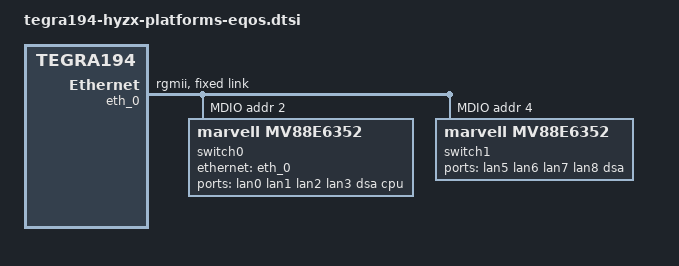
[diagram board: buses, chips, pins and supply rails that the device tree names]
/*
 * tegra194-platforms-eqos.dtsi: Ethernet QOS DTSI file.  Common for all
 * t194 platforms boards.
 *
 * Copyright (c) 2014-2018, NVIDIA CORPORATION.  All rights reserved.
 *
 * This program is free software; you can redistribute it and/or modify
 * it under the terms of the GNU General Public License as published by
 * the Free Software Foundation; version 2 of the License.
 *
 * This program is distributed in the hope that it will be useful, but WITHOUT
 * ANY WARRANTY; without even the implied warranty of MERCHANTABILITY or
 * FITNESS FOR A PARTICULAR PURPOSE.  See the GNU General Public License for
 * more details.
 *
 * You should have received a copy of the GNU General Public License along
 * with this program; if not, write to the Free Software Foundation, Inc.,
 * 51 Franklin Street, Fifth Floor, Boston, MA  02110-1301, USA.
 *
 */
#include <dt-bindings/gpio/tegra194-gpio.h>

/ {
        eth_0:ethernet@2490000 {
		/* PTP_ref clock speed in MHz */
		nvidia,ptp_ref_clock_speed = <312500000>;
		/* rxq_enable_ctrl = <rx0 rx1 rx2 rx3>
		 * 0x0 = Not enabled, 0x1 = Enabled for AV
		 * 0x2 = Enabled for Legacy, 0x3 = Reserved
		 */
		nvidia,rxq_enable_ctrl = <2 2 2 2>;
		nvidia,queue_prio = <0 1 2 3>;

		nvidia,use_tagged_ptp;
		nvidia,ptp_dma_ch = <3>;

		nvidia,chan_napi_quota = <64 64 64 64>;
		nvidia,pause_frames = <0>; /*0=enable, 1=disable */
		nvidia,phy-reset-gpio = <&tegra_main_gpio TEGRA194_MAIN_GPIO(G, 5) 0>;
		nvidia,phy-max-frame-size = <16>;	/* size in kbytes */
		nvidia,eth_iso_enable = <1>; /*0=enable, 1=disable */
		phy-mode = "rgmii";
		//phy-handle = <&switch0port6>;
		fixed-link {
			speed = <1000>;
	  	        full-duplex;
               		};
                    		      
		mdio0 {
			compatible = "nvidia,eqos-mdio";
			#address-cells = <1>;
			#size-cells = <0>;

		        switch0: switch0@0 {
				compatible = "marvell,mv88e6352","marvell,mv88e6085";
				#address-cells = <1>;
				#size-cells = <0>;
				reg = <2>;

		                dsa,member = <0 0>;

		                ports {
		                        #address-cells = <1>;
		                        #size-cells = <0>;
		                        port@0 {
		                                reg = <0>;
		                                label = "lan0";
		                        };

		                        port@1 {
		                                reg = <1>;
		                                label = "lan1";
		                        };

		                        port@2 {
		                                reg = <2>;
		                                label = "lan2";
		                        };

		                        port@3 {
		                                reg = <3>;
		                                label = "lan3";
		                        };

			//		port@5 {
			//			reg = <5>;
						//label = "copper1";
			//			label = "lan4";
						//fixed-link {
						//	speed = <1000>;
						//	full-duplex;
						//};
			//		};

					switch0port5: port@5 {
		                                reg = <5>;
                		                label = "dsa";
                               			 //phy-mode = "rgmii-txid";
                               			 link = <&switch1port5>;
                                		fixed-link {
                                        		speed = <1000>;
                                        		full-duplex;
                               			 };
                        		};


               			  	 switch0port6:port@6 {
		                                reg = <6>;
		                                label = "cpu";
						ethernet = <&eth_0>;

						interrupt-parent = <&tegra_main_gpio>;
						interrupts = <TEGRA194_MAIN_GPIO(G, 4) IRQ_TYPE_LEVEL_LOW>;
						phy-mode = "rgmii";
						fixed-link {
		                  			speed = <1000>;
	  	                    			full-duplex;
               		       			 	};
                    		                 };
				};
	        };



		        switch1: switch1@0 {
				compatible = "marvell,mv88e6352","marvell,mv88e6085";
				#address-cells = <1>;
				#size-cells = <0>;
				reg = <4>;

		                dsa,member = <0 1>;

		                ports {
		                        #address-cells = <1>;
		                        #size-cells = <0>;
		                        port@0 {
		                                reg = <0>;
		                                label = "lan5";
		                        };

		                        port@1 {
		                                reg = <1>;
		                                label = "lan6";
		                        };

		                        port@2 {
		                                reg = <2>;
		                                label = "lan7";
		                        };

		                        port@3 {
		                                reg = <3>;
		                                label = "lan8";
		                        };

					switch1port5: port@5 {
		                                reg = <5>;
                		                label = "dsa";
                               			 //phy-mode = "rgmii-txid";
                               			 link = <&switch0port5>;
                                		fixed-link {
                                        		speed = <1000>;
                                        		full-duplex;
                               			 };
                        		};


	                	};
	        	};

		};
	};

	thermal-zones {
		CPU-therm {
			trips {
				MAKE_EQOS_TRIP(m40, -40000, 5000);
				MAKE_EQOS_TRIP(m5, -5000, 5000);
				MAKE_EQOS_TRIP(p30, 30000, 5000);
				MAKE_EQOS_TRIP(p65, 65000, 5000);
				MAKE_EQOS_TRIP(p100, 100000, 5000);
			};

			cooling-maps {
				MAP_EQOS(m40, 1);
				MAP_EQOS(m5, 2);
				MAP_EQOS(p30, 3);
				MAP_EQOS(p65, 4);
				MAP_EQOS(p100, 5);
			};
		};
	};
};
